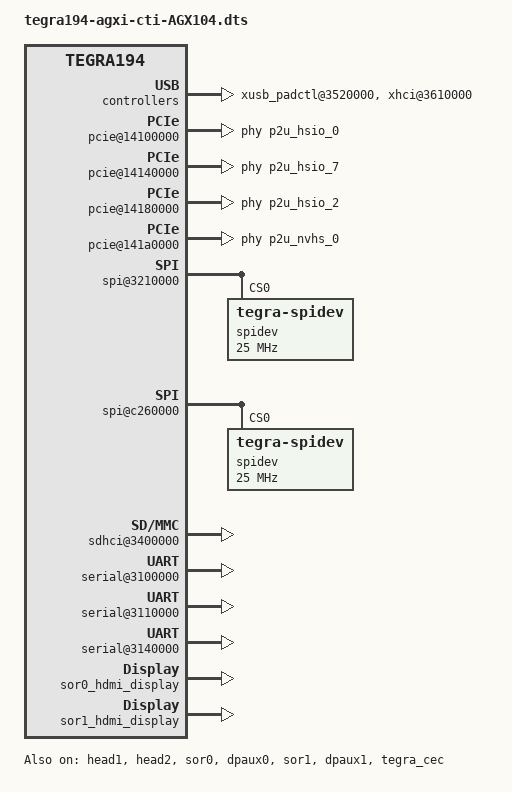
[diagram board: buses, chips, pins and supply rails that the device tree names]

#include "../../galen/kernel-dts/cti/tegra194-agx-cti-base.dtsi"
#include "../common/tegra194-p2888-0008-p2822-0000.dtsi"
/{

    nvidia,dtsfilename = "tegra194-agxi-cti-AGX104.dts";

    xusb_padctl@3520000 {
        status = "okay";
        pads {
            usb2 {
                lanes {
                    usb2-0 {
                        status = "okay";
                    };
                    usb2-1 {
                        status = "okay";
                    };
                    usb2-2 {
                        status = "okay";
                    };
                    usb2-3 {
                        status = "okay";
                    };
                };
            };
            usb3 {
                lanes {
                    usb3-0 {
                        status = "okay";
                    };
                    usb3-1 {
                        status = "disabled";
                    };
                    usb3-2 {
                        status = "okay";
                    };
                    usb3-3 {
                        status = "okay";
                    };
                };
            };
        };
        ports {
            usb2-0 {
                status = "okay";
                vbus-supply = <&vdd_usb_vbus0>;
            };
            usb2-1 {
                status = "okay";
                vbus-supply = <&vdd_usb_vbus0>;
            };
            usb2-2 {
                status = "okay";
            };
            usb2-3 {
                status = "okay";
                vbus-supply = <&vdd_usb_vbus0>;
            };
            usb3-0 {
                nvidia,usb2-companion = <1>;
            //    nvidia,usb3-gen1-only= <1>;
                status = "okay";
            };
            usb3-1{
            //    nvidia,usb2-companion = <1>;
            //    nvidia,usb3-gen1-only= <1>;
                status = "disabled";
            };
            usb3-2 {
                nvidia,usb2-companion = <0>;
            //    nvidia,usb3-gen1-only= <1>;
                status = "okay";
            };
            usb3-3 {
                nvidia,usb2-companion = <3>;
            //    nvidia,usb3-gen1-only= <1>;
                status = "okay";
            };
        };
    };

    xhci@3610000 {
        status = "okay";
        phys = <&{/xusb_padctl@3520000/pads/usb2/lanes/usb2-0}>,
            <&{/xusb_padctl@3520000/pads/usb2/lanes/usb2-1}>,
            <&{/xusb_padctl@3520000/pads/usb2/lanes/usb2-3}>,
            <&{/xusb_padctl@3520000/pads/usb2/lanes/usb2-2}>,
            <&{/xusb_padctl@3520000/pads/usb3/lanes/usb3-0}>,
            <&{/xusb_padctl@3520000/pads/usb3/lanes/usb3-2}>,
            <&{/xusb_padctl@3520000/pads/usb3/lanes/usb3-3}>;
        phy-names = "usb2-0", "usb2-1", "usb2-3", "usb2-2",
                    "usb3-0", "usb3-2", "usb3-3";
    };

    pcie@14100000 {
        status = "okay";
        phys = <&p2u_hsio_0>;
        phy-names = "p2u-0";
    };

    pcie@14140000 {
        status = "okay";
        phys = <&p2u_hsio_7>;
        phy-names = "p2u-0";
    };

    pcie@14180000 {
        status = "okay";
        phys = <&p2u_hsio_2>, <&p2u_hsio_3>, <&p2u_hsio_4>, <&p2u_hsio_5>;
        phy-names = "p2u-0", "p2u-1", "p2u-2", "p2u-3";

    };

    pcie@141a0000 {
        status = "okay";

        phys =  <&p2u_nvhs_0>, <&p2u_nvhs_1>, <&p2u_nvhs_2>, <&p2u_nvhs_3>;

        phy-names = "p2u-0", "p2u-1", "p2u-2", "p2u-3";
    };

    spi@3210000{
        status = "okay";
        spidev@0 {
            compatible = "tegra-spidev";
            reg = <0>;
            spi-max-frequency = <25000000>;
        };
    };
	
	// adding second spi
	spi@c260000{
        status = "okay";
        spidev@0 {
            compatible = "tegra-spidev";
            reg = <0>;
            spi-max-frequency=<25000000>;
        };
    };
	
	//sd card power fix
	fixed-regulators {
		p2822_vdd_1v8_sd: regulator@104 {
			gpio = <&tegra_main_gpio TEGRA194_MAIN_GPIO(A, 0) 1>;
			/delete-property/ enable-active-high;
		};
		
		p2822_vdd_sdmmc1_sw: regulator@106 {
			gpio = <&tegra_main_gpio TEGRA194_MAIN_GPIO(A, 0) 1>;
			/delete-property/ enable-active-high;
		};
	};
	
	//enabling i/o
	sdhci@3400000{
		status = "okay";
	};
	
	serial@3100000{
		status = "okay";
	};
	
	serial@3110000{
		status = "okay";
	};
	
	//ttyTHS4(uart 5) enabled for i/o tests 
	serial@3140000{
		status = "okay";
	};
	
	mttcan@c310000{
		status = "okay";
	};
	
	mttcan@c320000{
		status = "okay";
	};	
	
	/*clocks-init{
		status = "okay";
	};*/

};

//sor0
&head1 {
    status = "okay";
};

//sor1
&head2 {
    status = "okay";
};

&sor0 {
    status = "okay";
    nvidia,active-panel = <&sor0_hdmi_display>;
};

&sor0_hdmi_display {
    status = "okay";
};

&dpaux0 {
    status = "okay";
};

&sor1 {
    status = "okay";
    nvidia,active-panel = <&sor1_hdmi_display>;
};

&sor1_hdmi_display {
    status = "okay";
};

&dpaux1 {
    status = "okay";
};

&tegra_cec {
    status = "okay";
};

